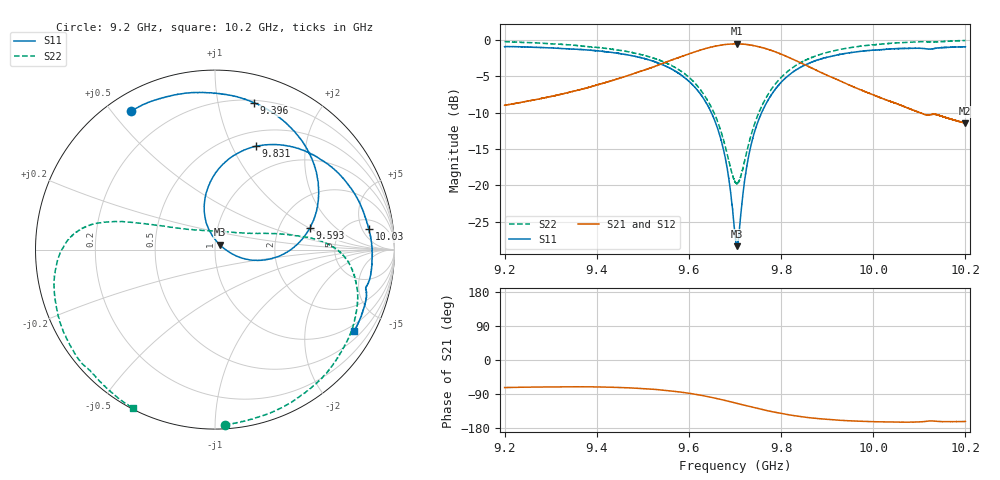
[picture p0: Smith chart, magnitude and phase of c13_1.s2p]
!Agilent Technologies,N5242A,MY51221714,A.09.90.19
!Agilent N5242A: A.09.90.19
!Date: Saturday, March 16, 2024 10:25:00
!Correction: S11(Full 2 Port(1,2))
!S21(Full 2 Port(1,2))
!S12(Full 2 Port(1,2))
!S22(Full 2 Port(1,2))
!S2P File: Measurements: S11, S21, S12, S22:
# Hz S  dB  R 50
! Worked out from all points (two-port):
!   16001 points, 9.2 GHz to 10.2 GHz, reference 50 ohm
!   highest |S21| = -0.51 dB at 9.704 GHz (marker M1); lowest = -11.4 dB at 10.2 GHz (marker M2)
!   |S21| within 3 dB of the highest: 9.530932 GHz to 9.531122 GHz (189.9 kHz wide, 0.00199 % of centre); 9.531 GHz to 9.856 GHz (324.4 MHz wide, 3.35 % of centre)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
!   lowest |S11| = -28.4 dB at 9.704 GHz (marker M3), VSWR 1.08, Z = 52.7 + j2.83 ohm
!   |S11| at or under -10 dB: 9.649 GHz to 9.758 GHz (109.2 MHz wide, 1.12 % of centre)
!   |S22| runs from -19.8 to 0.0 dB; largest |S21 - S12| = 0.012
!   S11 on the Smith chart (normalised r, x): 9.2 GHz: 0.07, +0.56; 9.396 GHz: 0.22, +1.28; 9.593 GHz: 2.99, +1.04; 9.831 GHz: 0.66, +1.24; 10.03 GHz: 8, +7; 10.2 GHz: 0.75, -3.54
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9.2e9  -0.91 121.3  -8.98 -72.8  -8.96 -73.3  -0.20 -86.8
9.277625e9  -1.01 103.6  -8.07 -71.2  -8.05 -71.7  -0.42 -65.2
9.366688e9  -1.31 82.5  -6.78 -70.8  -6.75 -71.3  -0.80 -41.5
9.395875e9  -1.45 75.1  -6.27 -71.0  -6.26 -71.6  -0.98 -34.1
9.533375e9  -3.15 34.8  -3.44 -78.2  -3.43 -78.7  -2.69 -4.1
9.592938e9  -5.28 13.0  -2.06 -86.6  -2.05 -87.1  -4.75 5.3
9.663875e9  -12.51 -14.7  -0.76 -102.6  -0.75 -103.1  -11.48 19.7
9.683812e9  -17.97 -16.8  -0.57 -108.3  -0.56 -108.9  -15.88 35.5
9.7e9  -26.69 14.1  -0.52 -113.1  -0.50 -113.7  -19.54 73.1
9.703625e9  -28.30 40.4  -0.51 -114.3  -0.49 -114.9  -19.70 85.0
9.704125e9  -28.38 44.7  -0.51 -114.4  -0.50 -115.0  -19.76 87.3
9.727125e9  -16.83 108.1  -0.62 -121.4  -0.60 -122.1  -14.97 141.5
9.747438e9  -11.66 103.2  -0.86 -127.4  -0.84 -128.0  -10.67 154.2
9.784375e9  -7.03 87.8  -1.54 -137.4  -1.55 -138.0  -6.30 161.8
9.83125e9  -4.15 68.3  -2.79 -147.3  -2.81 -147.9  -3.52 167.2
9.866688e9  -3.03 55.0  -3.85 -152.9  -3.85 -153.5  -2.38 171.5
9.945562e9  -1.77 29.5  -6.12 -160.3  -6.13 -160.8  -1.09 -175.5
1.002781e10  -1.26 7.6  -8.23 -163.3  -8.23 -163.9  -0.50 -158.5
1.003338e10  -1.24 6.2  -8.35 -163.4  -8.35 -164.0  -0.46 -157.2
1.011044e10  -1.16 -12.1  -10.21 -162.5  -10.21 -163.1  -0.22 -139.9
1.019944e10  -0.94 -30.1  -11.44 -162.2  -11.42 -162.9  -0.06 -117.4
1.02e10  -0.93 -30.3  -11.44 -162.3  -11.43 -162.9  -0.05 -117.2
